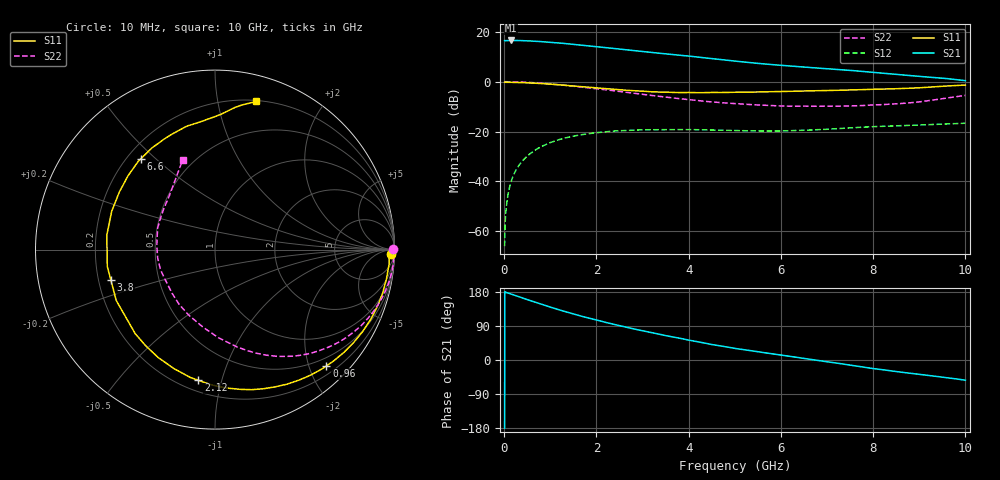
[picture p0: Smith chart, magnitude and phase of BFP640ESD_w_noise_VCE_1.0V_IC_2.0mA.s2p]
! Infineon Technologies  Discrete & RF Semiconductors
! BFP640ESD
! VCE =  1.0 V,  IC =  2.0 mA
! Common Emitter S-Parameters:  Jan 2016
# GHz  S  MA  R  50
!  f  S11  S21  S12  S22
! GHz  MAG  ANG  MAG  ANG  MAG  ANG  MAG  ANG
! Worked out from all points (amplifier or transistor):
!   233 points, 10 MHz to 10 GHz, reference 50 ohm
!   highest |S21| = 16.5 dB at 150 MHz (marker M1)
!   |S21| within 3 dB of that: start of sweep to 2.264 GHz
!   unconditionally stable (mu >= 1): 5.317 GHz to 9.417 GHz
!   at 200 MHz: K = 0.02, MSG = 27.1 dB, |S12| = -37.6 dB
!   at 1.74 GHz: K = 0.25, MSG = 17.8 dB, |S12| = -21.1 dB
!   at 10 GHz: K = 0.80, MSG = 8.5 dB, |S12| = -16.7 dB
!   lowest NFmin = 0.58 dB at 450 MHz
!   S11 on the Smith chart (normalised r, x): 10 MHz: 37, -48; 960 MHz: 0.35, -2.30; 2.12 GHz: 0.27, -0.85; 3.8 GHz: 0.25, -0.13; 6.6 GHz: 0.25, +0.45; 10 GHz: 0.21, +1.30
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0.01  0.9801 -1.5  6.683 -180.0  0.0005 91.4  0.9923 0.1
0.02  0.9747 -1.2  6.646 179.9  0.0014 90.4  1 -0.5
0.045  0.9715 -2.5  6.662 178.1  0.0029 85.3  0.9988 -1.5
0.095  0.973 -4.6  6.704 176.4  0.0062 86.6  0.9977 -3.0
0.15  0.971 -7.3  6.722 173.9  0.0098 85.1  0.996 -4.8
0.3  0.9648 -14.6  6.705 167.7  0.0196 80.3  0.9886 -9.5
0.5  0.9501 -24.3  6.618 159.4  0.0322 74.1  0.9709 -15.7
0.7  0.9299 -33.9  6.483 151.3  0.044 67.8  0.9465 -21.7
0.96  0.8974 -46.2  6.226 141.1  0.0578 60.0  0.9072 -29.3
1.3  0.8502 -61.9  5.859 128.5  0.0734 50.5  0.849 -38.6
1.68  0.7944 -78.7  5.411 115.5  0.0865 41.1  0.7801 -48.0
2.12  0.7341 -97.2  4.906 101.8  0.0973 31.8  0.703 -57.8
2.76  0.6631 -124.2  4.259 83.4  0.1065 20.0  0.5928 -72.0
3.4  0.6186 -148.8  3.695 67.1  0.109 11.1  0.5034 -85.4
3.8  0.6045 -163.7  3.396 57.6  0.1093 6.7  0.4564 -94.2
4.5  0.6081 172.4  2.919 40.8  0.1076 0.2  0.393 -111.9
5.1  0.6139 157.5  2.537 29.0  0.1042 -2.5  0.3585 -125.6
6.6  0.6535 129.1  1.936 2.5  0.1068 -3.1  0.3224 -162.6
6.8  0.6586 125.5  1.875 -1.0  0.1089 -3.2  0.3214 -167.4
7.6  0.6859 110.7  1.658 -15.1  0.1197 -5.4  0.3277 170.9
8.4  0.7175 96.2  1.423 -28.9  0.1289 -10.0  0.3545 147.3
10  0.8568 74.4  1.049 -53.4  0.1467 -19.2  0.5314 109.8
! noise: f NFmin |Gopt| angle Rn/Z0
0.45  0.58  0.67  11  0.24
0.9  0.61  0.63  24  0.22
1.9  0.75  0.52  52  0.19
2.4  0.85  0.47  72  0.17
5.5  1.42  0.4  -153  0.18
10  3.03  0.7  -84  1.7
